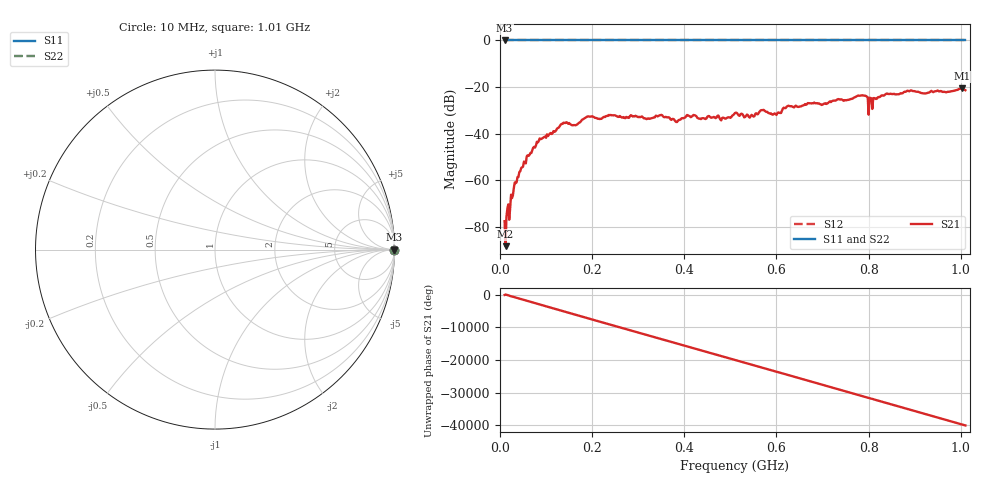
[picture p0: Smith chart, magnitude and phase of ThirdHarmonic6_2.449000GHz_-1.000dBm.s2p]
! 8/17/2025 4:21:53 AM
! C:\ANRITSUVNA\TEMP\TEMP.S2P
! CHANNEL.1
! TR.MEASUREMENT
! RAW.DATA
! RF.CORRECTION.OFF
! AVERAGING.OFF
! IF.BANDWIDTH: 5KHZ
! SWEEPTYPE:  FREQ.SWEEP(Linear)
! Reference Plane Port Info
! PORT:  PORT1  PORT2
! DISTANCE:  0  m  0  m
! TIME:  0  s  0  s
! PHASE.OFFSET:  0  deg.  0  deg.
! LOSS:  0  dB  0  dB
! REF.LOSS:  0  dB  0  dB
! REF.FREQ:  0  Hz  0  Hz
! Power Info
! POWER:  -20  dBm  -20  dBm
! EFF.POWER:  -20  dBm  -20  dBm
! SOURCE.ATTEN:  0  dB  0  dB
! TEST.ATTEN:  0  dB  0  dB
# GHZ S RI R 50.0
! FREQ.GHZ  S11RE  S11IM  S21RE  S21IM  S12RE  S12IM  S22RE  S22IM
!; PortSelection: Port_12
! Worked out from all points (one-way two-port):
!   501 points, 10 MHz to 1.01 GHz, reference 50 ohm
!   highest |S21| = -20.60 dB at 1.002 GHz (marker M1); lowest = -88.3 dB at 12 MHz (marker M2)
!   lowest |S11| = 0.0 dB at 10 MHz (marker M3)
!   |S11| at or under -10 dB: nowhere
!   |S22| runs from 0.0 to 0.0 dB; largest |S21 - S12| = 1.1
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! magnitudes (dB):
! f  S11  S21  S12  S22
! 10 MHz  0.0  -77.5  0.0  0.0
! 12 MHz  0.0  -88.3  0.0  0.0
! 42 MHz  0.0  -56.4  0.0  0.0
! 84 MHz  0.0  -43.2  0.0  0.0
! 136 MHz  0.0  -35.8  0.0  0.0
! 162 MHz  0.0  -36.3  0.0  0.0
! 178 MHz  0.0  -34.1  0.0  0.0
! 344 MHz  0.0  -32.4  0.0  0.0
! 384 MHz  0.0  -35.0  0.0  0.0
! 408 MHz  0.0  -32.2  0.0  0.0
! 482 MHz  0.0  -33.3  0.0  0.0
! 510 MHz  0.0  -31.1  0.0  0.0
! 546 MHz  0.0  -31.9  0.0  0.0
! 570 MHz  0.0  -29.9  0.0  0.0
! 596 MHz  0.0  -31.3  0.0  0.0
! 626 MHz  0.0  -28.0  0.0  0.0
! 678 MHz  0.0  -26.9  0.0  0.0
! 786 MHz  0.0  -23.5  0.0  0.0
! 804 MHz  0.0  -24.7  0.0  0.0
! 844 MHz  0.0  -23.0  0.0  0.0
! 1.002 GHz  0.0  -20.6  0.0  0.0
! 1.01 GHz  0.0  -21.4  0.0  0.0
